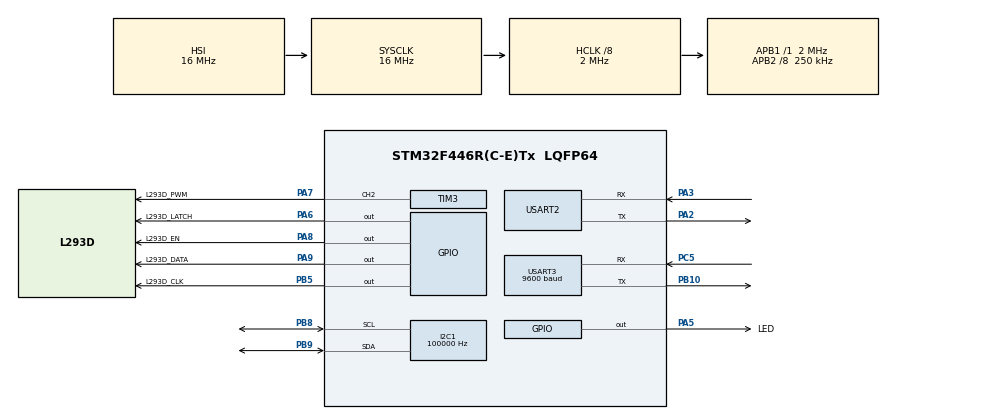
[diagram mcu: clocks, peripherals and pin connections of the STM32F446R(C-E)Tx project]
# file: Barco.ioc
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I2C1.ClockSpeed=100000
Mcu.Family=STM32F4
Mcu.Name=STM32F446R(C-E)Tx
Mcu.Package=LQFP64
NVIC.PriorityGroup=NVIC_PRIORITYGROUP_4
PA2.Mode=Asynchronous
PA2.Signal=USART2_TX
PA3.Mode=Asynchronous
PA3.Signal=USART2_RX
PA5.GPIO_Label=LED
PA5.Signal=GPIO_Output
PA6.GPIO_Label=L293D_LATCH
PA6.Signal=GPIO_Output
PA7.GPIO_Label=L293D_PWM
PA7.Signal=S_TIM3_CH2
PA8.GPIO_Label=L293D_EN
PA8.Signal=GPIO_Output
PA9.GPIO_Label=L293D_DATA
PA9.Signal=GPIO_Output
PB10.Mode=Asynchronous
PB10.Signal=USART3_TX
PB5.GPIO_Label=L293D_CLK
PB5.Signal=GPIO_Output
PB8.Mode=I2C
PB8.Signal=I2C1_SCL
PB9.Mode=I2C
PB9.Signal=I2C1_SDA
PC5.Mode=Asynchronous
PC5.Signal=USART3_RX
ProjectManager.HeapSize=0x200
ProjectManager.StackSize=0x400
ProjectManager.TargetToolchain=STM32CubeIDE
RCC.AHBCLKDivider=RCC_SYSCLK_DIV8
RCC.AHBFreq_Value=2000000
RCC.APB1Freq_Value=2000000
RCC.APB1TimFreq_Value=2000000
RCC.APB2CLKDivider=RCC_HCLK_DIV8
RCC.APB2Freq_Value=250000
RCC.APB2TimFreq_Value=500000
RCC.CortexFreq_Value=2000000
RCC.HCLKFreq_Value=2000000
RCC.PLLM=10
RCC.PLLN=64
RCC.SYSCLKFreq_VALUE=16000000
RCC.USBFreq_Value=51200000
RCC.VCOOutputFreq_Value=102400000
SH.S_TIM3_CH2.0=TIM3_CH2,PWM Generation2 CH2
TIM3.Channel-PWM\ Generation2\ CH2=TIM_CHANNEL_2
TIM3.Period=1250
TIM3.Pulse-PWM\ Generation2\ CH2=94
USART2.VirtualMode=VM_ASYNC
USART3.BaudRate=9600
USART3.VirtualMode=VM_ASYNC
board=custom

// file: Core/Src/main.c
/* USER CODE BEGIN Header */
/**
 ******************************************************************************
 * @file           : main.c
 * @brief          : Main program body
 ******************************************************************************
 * @attention
 *
 * Copyright (c) 2023 STMicroelectronics.
 * All rights reserved.
 *
 * This software is licensed under terms that can be found in the LICENSE file
 * in the root directory of this software component.
 * If no LICENSE file comes with this software, it is provided AS-IS.
 *
 ******************************************************************************
 */
/* USER CODE END Header */
#include "main.h"

/* USER CODE BEGIN Includes */
#include "BLE-JDY18.h"
#include "HMC5883L.h"
#include "Servo.h"
#include "PID.h"
#include "Positioning_BLE.h"
#include "DCMotor.h"
/* USER CODE END Includes */

/* USER CODE BEGIN PD */
#define SERVO_PERIOD 1250;
#define SERVO_MIN_DUTY_CICLE 0.05;
#define SERVO_MAX_DUTY_CICLE 0.115;
#define SERVO_CALIBRATION_GAIN 1.47;
#define SERVO_CALIBRATION_OFFSET -12.6;

#define DCMOTOR_PERIOD 1250;

#define PID_SERVO_KP 1;
#define PID_SERVO_KI 1;
#define PID_SERVO_KD 1;
#define PID_PERIOD_MS 500;

#define DATA_COLLECTING_STATE 0
#define PROCESSING_STATE 1
#define OUTPUT_WRITING_STATE 2
/* USER CODE END PD */

I2C_HandleTypeDef hi2c1;

TIM_HandleTypeDef htim3;

UART_HandleTypeDef huart2;
UART_HandleTypeDef huart3;

void SystemClock_Config(void);
static void MX_GPIO_Init(void);
static void MX_TIM3_Init(void);
static void MX_I2C1_Init(void);
static void MX_USART2_UART_Init(void);
static void MX_USART3_UART_Init(void);
/* USER CODE BEGIN PFP */
void setPWMM(TIM_HandleTypeDef timer, uint32_t channel, uint32_t period,
		uint16_t pulseLength);
/* USER CODE END PFP */

int main(void)
{

  /* MCU Configuration--------------------------------------------------------*/

  /* Reset of all peripherals, Initializes the Flash interface and the Systick. */
  HAL_Init();

  /* Configure the system clock */
  SystemClock_Config();

  /* Initialize all configured peripherals */
  MX_GPIO_Init();
  MX_TIM3_Init();
  MX_I2C1_Init();
  MX_USART2_UART_Init();
  MX_USART3_UART_Init();
  /* USER CODE BEGIN 2 */

	// POSITION AND DC MOTOR CONFIGURATION
	JDY18_Setup(&huart3);
	JDY18_SetRole(JDY18_ROLE_MASTER);

	JDY18_Device_t devices[JDY18_MAX_DEVICES];
	POSITIONING_BLE_Config_t beaconPositioningConfig;

	POSITIONING_BLE_Devices_Info_t devicesInfo;
	strcpy(devicesInfo.departureDevice.name,"PSE2022_B1");
	devicesInfo.departureDevice.x = 11.495;
	devicesInfo.departureDevice.y = 34.342;

	strcpy(devicesInfo.arrivalDevice.name,"PSE2022_B2");
	devicesInfo.arrivalDevice.x = 0;
	devicesInfo.arrivalDevice.y = 0;

	strcpy(devicesInfo.otherDevice.name,"PSE2022_B3");
	devicesInfo.otherDevice.x = -12.64;
	devicesInfo.otherDevice.y = 16.948;

// TODO: verify configuration and adjust according to the pin map (not released yet)
	int dcMotorPeriod = DCMOTOR_PERIOD;
	DCMOTOR_TimerConfig_t dcmotorTimerConfig;
	dcmotorTimerConfig.channel = TIM_CHANNEL_3;
	dcmotorTimerConfig.handle = htim3;
	dcmotorTimerConfig.period = dcMotorPeriod;

	DCMOTOR_Config_t dcMotorConfig;
	dcMotorConfig.timerConfig = dcmotorTimerConfig;
	dcMotorConfig.clk.GPIOx = L293D_CLK_GPIO_Port;
	dcMotorConfig.clk.GPIO_Pin = L293D_CLK_Pin;
	dcMotorConfig.enable.GPIOx = L293D_EN_GPIO_Port;
	dcMotorConfig.enable.GPIO_Pin = L293D_EN_Pin;
	dcMotorConfig.latch.GPIOx = L293D_LATCH_GPIO_Port;
	dcMotorConfig.latch.GPIO_Pin = L293D_LATCH_Pin;
	dcMotorConfig.data.GPIOx = L293D_DATA_GPIO_Port;
	dcMotorConfig.data.GPIO_Pin = L293D_LATCH_Pin;

	// SERVO AND HMC588L CONFIGURATION
	SERVO_TimerConfig_t servoPWMConfig;
	servoPWMConfig.handle = htim3;
	servoPWMConfig.channel = TIM_CHANNEL_2;
	const uint32_t servoPeriod = SERVO_PERIOD;
	servoPWMConfig.period = servoPeriod;
	const float servoMinDutyCicle = SERVO_MIN_DUTY_CICLE;
	const float servoMaxDutyCicle = SERVO_MAX_DUTY_CICLE;
	servoPWMConfig.minDutyCyclePercentage = servoMinDutyCicle;
	servoPWMConfig.maxDutyCyclePercentage = servoMaxDutyCicle;

	SERVO_Calibration_t servoCalibration;
	const float servoCalibrationGain = SERVO_CALIBRATION_GAIN;
	const float servoOffset = SERVO_CALIBRATION_OFFSET;
	servoCalibration.gain = servoCalibrationGain;
	servoCalibration.offset = servoOffset;

	SERVO_Config_t servoConfig;
	servoConfig.timerConfig = servoPWMConfig;
	servoConfig.calibration = servoCalibration;

	HMC5883L_Config_t magnetometerConfig;
	magnetometerConfig.dataOutputRate = HMC5883L_DOR_15;
	magnetometerConfig.gain = HMC5883L_GAIN_0_88;
	magnetometerConfig.measurementMode = HMC5883L_MESUAREMENT_NORMAL;
	magnetometerConfig.operatingMode = HMC5883L_CONTINUOUS_MODE;
	magnetometerConfig.samplesNum = HMC5883L_SAMPLES_8;
	magnetometerConfig.handle = &hi2c1;
	HMC5883L_Init(magnetometerConfig);
	HMC5883L_GetCalibrationData(magnetometerConfig, &huart2);

	HMC5883L_Data_t magnetometerData = { 0, 0, 0, 0, 0 };

	// CONTROLLERS CONFIGURATION
	const float pidServoKp = PID_SERVO_KP;
	const float pidServoKi = PID_SERVO_KI;
	const float pidServoKd = PID_SERVO_KD;
	const int pidPeriodMs = PID_PERIOD_MS;
	const float servoMinAngle = SERVO_MIN_ANGLE;
	const float servoMaxAngle = SERVO_MAX_ANGLE;
	const float servoMiddleAngle = SERVO_MIDDLE_ANGLE;
	float servoAction = 0;

	PID_Controller_t controllerServo;
	PID_Create(&controllerServo, pidServoKp, pidServoKi, pidServoKd, pidPeriodMs);
	PID_SetSaturationLimits(&controllerServo, servoMinAngle, servoMaxAngle);
	PID_SetSetpoint(&controllerServo, servoMiddleAngle);

	const float pidDcMotorKp = 1;
	const float pidDcMotorKi = 0;
	const float pidDcMotorKd = 0;
	const float DcMotorMinPercentage = 50;
	const float DcMotorMaxPercentage = 100;
	float dcMotorAction = 0;

	PID_Controller_t controllerDcMotor;
	PID_Create(&controllerDcMotor, pidDcMotorKp, pidDcMotorKi, pidDcMotorKd, pidPeriodMs);
	PID_SetSaturationLimits(&controllerDcMotor, DcMotorMinPercentage, DcMotorMaxPercentage);
	PID_SetSetpoint(&controllerDcMotor, 0);

  /* USER CODE END 2 */

  /* Infinite loop */
  /* USER CODE BEGIN WHILE */
	//Device_t devices[MAX_DEVICES];
	DCMOTOR_SetDirection(dcMotorConfig, FORWARD);
	int currentState = DATA_COLLECTING_STATE;
	while (1) {
    /* USER CODE END WHILE */

    /* USER CODE BEGIN 3 */
		// TODO: initialize timer

		switch(currentState) {
			case DATA_COLLECTING_STATE:
				// JDY18
				int numOfDevices = JDY18_Scan(devices);
				POSITIONING_BLE_CreateConfig(&beaconPositioningConfig, devicesInfo, devices, numOfDevices);
				const POSITIONING_BLE_Cartesian_Point_t currentPosition = POSITIONING_BLE_GetPosition(&beaconPositioningConfig);

				// HMC5883L
				HMC5883L_Read(magnetometerConfig, &magnetometerData);

				// UPDATE STATE
				currentState = PROCESSING_STATE;
				break;
			case PROCESSING_STATE:
				// DCMOTOR
				float distanceFromArrival = sqrt(currentPosition.x*currentPosition.x + currentPosition.y*currentPosition.y);
				PID_ProcessInput(&controllerDcMotor, distanceFromArrival);
				dcMotorAction = PID_CalculateControlAction(&controllerDcMotor);

				// SERVO
				PID_ProcessInput(&controllerServo, magnetometerData.degrees);
				servoAction = PID_CalculateControlAction(&controllerServo);

				// UPDATE STATE
				currentState = OUTPUT_WRITING_STATE;
				break;
			case OUTPUT_WRITING_STATE:
				// DCMOTOR
				DCMOTOR_SetSpeedPercentage(dcMotorConfig, dcMotorAction);

				// SERVO
				SERVO_SetAngle(servoConfig, servoAction);

				// UPDATE STATE
				currentState = DATA_COLLECTING_STATE;
				break;
		}

		// TODO: wait for timer to timeout
		HAL_Delay(5000);
	}
  /* USER CODE END 3 */
}

void SystemClock_Config(void)
{
  RCC_OscInitTypeDef RCC_OscInitStruct = {0};
  RCC_ClkInitTypeDef RCC_ClkInitStruct = {0};

  /** Configure the main internal regulator output voltage
  */
  __HAL_RCC_PWR_CLK_ENABLE();
  __HAL_PWR_VOLTAGESCALING_CONFIG(PWR_REGULATOR_VOLTAGE_SCALE3);

  /** Initializes the RCC Oscillators according to the specified parameters
  * in the RCC_OscInitTypeDef structure.
  */
  RCC_OscInitStruct.OscillatorType = RCC_OSCILLATORTYPE_HSI;
  RCC_OscInitStruct.HSIState = RCC_HSI_ON;
  RCC_OscInitStruct.HSICalibrationValue = RCC_HSICALIBRATION_DEFAULT;
  RCC_OscInitStruct.PLL.PLLState = RCC_PLL_NONE;
  if (HAL_RCC_OscConfig(&RCC_OscInitStruct) != HAL_OK)
  {
    Error_Handler();
  }

  /** Initializes the CPU, AHB and APB buses clocks
  */
  RCC_ClkInitStruct.ClockType = RCC_CLOCKTYPE_HCLK|RCC_CLOCKTYPE_SYSCLK
                              |RCC_CLOCKTYPE_PCLK1|RCC_CLOCKTYPE_PCLK2;
  RCC_ClkInitStruct.SYSCLKSource = RCC_SYSCLKSOURCE_HSI;
  RCC_ClkInitStruct.AHBCLKDivider = RCC_SYSCLK_DIV8;
  RCC_ClkInitStruct.APB1CLKDivider = RCC_HCLK_DIV1;
  RCC_ClkInitStruct.APB2CLKDivider = RCC_HCLK_DIV8;

  if (HAL_RCC_ClockConfig(&RCC_ClkInitStruct, FLASH_LATENCY_0) != HAL_OK)
  {
    Error_Handler();
  }
}

static void MX_I2C1_Init(void)
{

  hi2c1.Instance = I2C1;
  hi2c1.Init.ClockSpeed = 100000;
  hi2c1.Init.DutyCycle = I2C_DUTYCYCLE_2;
  hi2c1.Init.OwnAddress1 = 0;
  hi2c1.Init.AddressingMode = I2C_ADDRESSINGMODE_7BIT;
  hi2c1.Init.DualAddressMode = I2C_DUALADDRESS_DISABLE;
  hi2c1.Init.OwnAddress2 = 0;
  hi2c1.Init.GeneralCallMode = I2C_GENERALCALL_DISABLE;
  hi2c1.Init.NoStretchMode = I2C_NOSTRETCH_DISABLE;
  if (HAL_I2C_Init(&hi2c1) != HAL_OK)
  {
    Error_Handler();
  }

}

static void MX_TIM3_Init(void)
{

  TIM_MasterConfigTypeDef sMasterConfig = {0};
  TIM_OC_InitTypeDef sConfigOC = {0};

  htim3.Instance = TIM3;
  htim3.Init.Prescaler = 0;
  htim3.Init.CounterMode = TIM_COUNTERMODE_UP;
  htim3.Init.Period = 1250;
  htim3.Init.ClockDivision = TIM_CLOCKDIVISION_DIV1;
  htim3.Init.AutoReloadPreload = TIM_AUTORELOAD_PRELOAD_DISABLE;
  if (HAL_TIM_PWM_Init(&htim3) != HAL_OK)
  {
    Error_Handler();
  }
  sMasterConfig.MasterOutputTrigger = TIM_TRGO_RESET;
  sMasterConfig.MasterSlaveMode = TIM_MASTERSLAVEMODE_DISABLE;
  if (HAL_TIMEx_MasterConfigSynchronization(&htim3, &sMasterConfig) != HAL_OK)
  {
    Error_Handler();
  }
  sConfigOC.OCMode = TIM_OCMODE_PWM1;
  sConfigOC.Pulse = 94;
  sConfigOC.OCPolarity = TIM_OCPOLARITY_HIGH;
  sConfigOC.OCFastMode = TIM_OCFAST_DISABLE;
  if (HAL_TIM_PWM_ConfigChannel(&htim3, &sConfigOC, TIM_CHANNEL_2) != HAL_OK)
  {
    Error_Handler();
  }
  HAL_TIM_MspPostInit(&htim3);

}

static void MX_USART2_UART_Init(void)
{

  huart2.Instance = USART2;
  huart2.Init.BaudRate = 115200;
  huart2.Init.WordLength = UART_WORDLENGTH_8B;
  huart2.Init.StopBits = UART_STOPBITS_1;
  huart2.Init.Parity = UART_PARITY_NONE;
  huart2.Init.Mode = UART_MODE_TX_RX;
  huart2.Init.HwFlowCtl = UART_HWCONTROL_NONE;
  huart2.Init.OverSampling = UART_OVERSAMPLING_16;
  if (HAL_UART_Init(&huart2) != HAL_OK)
  {
    Error_Handler();
  }

}

static void MX_USART3_UART_Init(void)
{

  huart3.Instance = USART3;
  huart3.Init.BaudRate = 9600;
  huart3.Init.WordLength = UART_WORDLENGTH_8B;
  huart3.Init.StopBits = UART_STOPBITS_1;
  huart3.Init.Parity = UART_PARITY_NONE;
  huart3.Init.Mode = UART_MODE_TX_RX;
  huart3.Init.HwFlowCtl = UART_HWCONTROL_NONE;
  huart3.Init.OverSampling = UART_OVERSAMPLING_16;
  if (HAL_UART_Init(&huart3) != HAL_OK)
  {
    Error_Handler();
  }

}

static void MX_GPIO_Init(void)
{
  GPIO_InitTypeDef GPIO_InitStruct = {0};

  /* GPIO Ports Clock Enable */
  __HAL_RCC_GPIOA_CLK_ENABLE();
  __HAL_RCC_GPIOC_CLK_ENABLE();
  __HAL_RCC_GPIOB_CLK_ENABLE();

  /*Configure GPIO pin Output Level */
  HAL_GPIO_WritePin(GPIOA, LED_Pin|L293D_LATCH_Pin|L293D_EN_Pin|L293D_DATA_Pin, GPIO_PIN_RESET);

  /*Configure GPIO pin Output Level */
  HAL_GPIO_WritePin(L293D_CLK_GPIO_Port, L293D_CLK_Pin, GPIO_PIN_RESET);

  /*Configure GPIO pins : LED_Pin L293D_LATCH_Pin L293D_EN_Pin L293D_DATA_Pin */
  GPIO_InitStruct.Pin = LED_Pin|L293D_LATCH_Pin|L293D_EN_Pin|L293D_DATA_Pin;
  GPIO_InitStruct.Mode = GPIO_MODE_OUTPUT_PP;
  GPIO_InitStruct.Pull = GPIO_NOPULL;
  GPIO_InitStruct.Speed = GPIO_SPEED_FREQ_LOW;
  HAL_GPIO_Init(GPIOA, &GPIO_InitStruct);

  /*Configure GPIO pin : L293D_CLK_Pin */
  GPIO_InitStruct.Pin = L293D_CLK_Pin;
  GPIO_InitStruct.Mode = GPIO_MODE_OUTPUT_PP;
  GPIO_InitStruct.Pull = GPIO_NOPULL;
  GPIO_InitStruct.Speed = GPIO_SPEED_FREQ_LOW;
  HAL_GPIO_Init(L293D_CLK_GPIO_Port, &GPIO_InitStruct);

}

/* USER CODE BEGIN 4 */
void setPWMM(TIM_HandleTypeDef timer, uint32_t channel, uint32_t period,
		uint16_t pulseLength) {
	HAL_TIM_PWM_Stop(&timer, channel); // stop generation of pwm
	TIM_OC_InitTypeDef sConfigOC;
	timer.Init.Period = period; // set the period duration
	HAL_TIM_PWM_Init(&timer); // reinitialise with new period value
	sConfigOC.OCMode = TIM_OCMODE_PWM1;
	sConfigOC.Pulse = pulseLength; // set the pulse duration
	sConfigOC.OCPolarity = TIM_OCPOLARITY_HIGH;
	sConfigOC.OCFastMode = TIM_OCFAST_DISABLE;
	HAL_TIM_PWM_ConfigChannel(&timer, &sConfigOC, channel);
	HAL_TIM_PWM_Start(&timer, channel); // start PWM generation
}
/* USER CODE END 4 */

void Error_Handler(void)
{
	__disable_irq();
	while (1) {
	}
}
